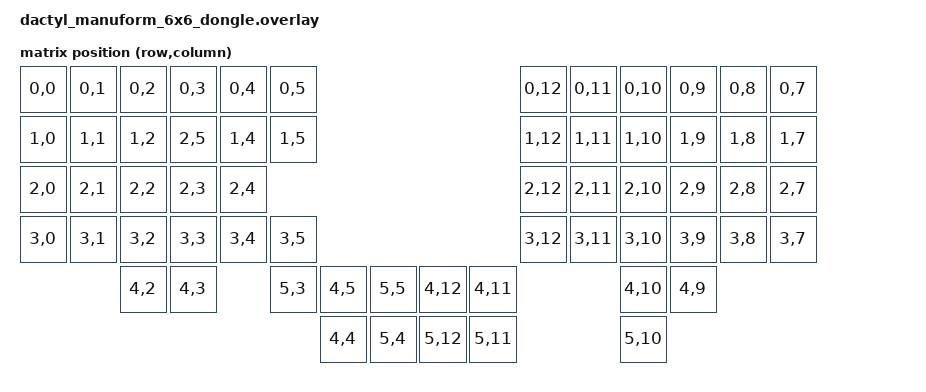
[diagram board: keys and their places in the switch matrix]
#include <dt-bindings/gpio/gpio.h>
#include <dt-bindings/pinctrl/nrf-pinctrl.h>
#include <dt-bindings/pwm/pwm.h>
#include <dt-bindings/zmk/matrix_transform.h>
#include <physical_layouts.dtsi>

/ {
    chosen {
        zmk,kscan = &mock_kscan;
        zmk,physical-layout = &default_layout;
        zephyr,display = &st7789;
    };

    pwmleds {
        compatible = "pwm-leds";

        disp_bl: pwm_led_1 {
            pwms = <&pwm1 0 PWM_MSEC(1) PWM_POLARITY_NORMAL>;
        };
    };

    mock_kscan: mock_kscan_0 {
        compatible = "zmk,kscan-mock";
        columns = <0>;
        rows = <0>;
        events = <0>;
    };

    default_transform: keymap_transform0 {
        compatible = "zmk,matrix-transform";
        columns = <14>;
        rows = <6>;
        map = <
            RC(0,0) RC(0,1) RC(0,2) RC(0,3) RC(0,4) RC(0,5)
            RC(1,0) RC(1,1) RC(1,2) RC(1,3) RC(1,4) RC(1,5)
            RC(2,0) RC(2,1) RC(2,2) RC(2,3) RC(2,4) RC(2,5)
            RC(3,0) RC(3,1) RC(3,2) RC(3,3) RC(3,4) RC(3,5)
            RC(4,2) RC(4,3) RC(5,3) RC(4,5) RC(5,5)
            RC(4,4) RC(5,4)

            RC(0,12) RC(0,11) RC(0,10) RC(0,9) RC(0,8) RC(0,7)
            RC(1,12) RC(1,11) RC(1,10) RC(1,9) RC(1,8) RC(1,7)
            RC(2,12) RC(2,11) RC(2,10) RC(2,9) RC(2,8) RC(2,7)
            RC(3,12) RC(3,11) RC(3,10) RC(3,9) RC(3,8) RC(3,7)
            RC(4,10) RC(4,9) RC(5,12) RC(4,12) RC(5,10)
            RC(5,11) RC(4,11)
        >;
    };

    default_layout: physical_layout_0 {
        compatible = "zmk,physical-layout";
        display-name = "Default";
        kscan = <&mock_kscan>;
        transform = <&default_transform>;
        keys
            = <&key_physical_attrs 100 100    0   0  0   0   0>
            , <&key_physical_attrs 100 100  100   0  0   0   0>
            , <&key_physical_attrs 100 100  200   0  0   0   0>
            , <&key_physical_attrs 100 100  300   0  0   0   0>
            , <&key_physical_attrs 100 100  400   0  0   0   0>
            , <&key_physical_attrs 100 100  500   0  0   0   0>
            , <&key_physical_attrs 100 100    0 100  0   0   0>
            , <&key_physical_attrs 100 100  100 100  0   0   0>
            , <&key_physical_attrs 100 100  200 100  0   0   0>
            , <&key_physical_attrs 100 100  300 100  0   0   0>
            , <&key_physical_attrs 100 100  400 100  0   0   0>
            , <&key_physical_attrs 100 100  500 100  0   0   0>
            , <&key_physical_attrs 100 100    0 200  0   0   0>
            , <&key_physical_attrs 100 100  100 200  0   0   0>
            , <&key_physical_attrs 100 100  200 200  0   0   0>
            , <&key_physical_attrs 100 100  300 200  0   0   0>
            , <&key_physical_attrs 100 100  400 200  0   0   0>
            , <&key_physical_attrs 100 100  300 100  0   0   0>
            , <&key_physical_attrs 100 100    0 300  0   0   0>
            , <&key_physical_attrs 100 100  100 300  0   0   0>
            , <&key_physical_attrs 100 100  200 300  0   0   0>
            , <&key_physical_attrs 100 100  300 300  0   0   0>
            , <&key_physical_attrs 100 100  400 300  0   0   0>
            , <&key_physical_attrs 100 100  500 300  0   0   0>
            , <&key_physical_attrs 100 100  200 400  0   0   0>
            , <&key_physical_attrs 100 100  300 400  0   0   0>
            , <&key_physical_attrs 100 100  500 400  0   0   0>
            , <&key_physical_attrs 100 100  600 400  0   0   0>
            , <&key_physical_attrs 100 100  700 400  0   0   0>
            , <&key_physical_attrs 100 100  600 500  0   0   0>
            , <&key_physical_attrs 100 100  700 500  0   0   0>

            , <&key_physical_attrs 100 100 1000   0  0   0   0>
            , <&key_physical_attrs 100 100 1100   0  0   0   0>
            , <&key_physical_attrs 100 100 1200   0  0   0   0>
            , <&key_physical_attrs 100 100 1300   0  0   0   0>
            , <&key_physical_attrs 100 100 1400   0  0   0   0>
            , <&key_physical_attrs 100 100 1500   0  0   0   0>
            , <&key_physical_attrs 100 100 1000 100  0   0   0>
            , <&key_physical_attrs 100 100 1100 100  0   0   0>
            , <&key_physical_attrs 100 100 1200 100  0   0   0>
            , <&key_physical_attrs 100 100 1300 100  0   0   0>
            , <&key_physical_attrs 100 100 1400 100  0   0   0>
            , <&key_physical_attrs 100 100 1500 100  0   0   0>
            , <&key_physical_attrs 100 100 1000 200  0   0   0>
            , <&key_physical_attrs 100 100 1100 200  0   0   0>
            , <&key_physical_attrs 100 100 1200 200  0   0   0>
            , <&key_physical_attrs 100 100 1300 200  0   0   0>
            , <&key_physical_attrs 100 100 1400 200  0   0   0>
            , <&key_physical_attrs 100 100 1500 200  0   0   0>
            , <&key_physical_attrs 100 100 1000 300  0   0   0>
            , <&key_physical_attrs 100 100 1100 300  0   0   0>
            , <&key_physical_attrs 100 100 1200 300  0   0   0>
            , <&key_physical_attrs 100 100 1300 300  0   0   0>
            , <&key_physical_attrs 100 100 1400 300  0   0   0>
            , <&key_physical_attrs 100 100 1500 300  0   0   0>
            , <&key_physical_attrs 100 100 1200 400  0   0   0>
            , <&key_physical_attrs 100 100 1300 400  0   0   0>
            , <&key_physical_attrs 100 100  800 500  0   0   0>
            , <&key_physical_attrs 100 100  800 400  0   0   0>
            , <&key_physical_attrs 100 100 1200 500  0   0   0>
            , <&key_physical_attrs 100 100  900 500  0   0   0>
            , <&key_physical_attrs 100 100  900 400  0   0   0>
            ;
    };
};

&spi2 {
    status = "disabled";
};

&pinctrl {
    spi3_default: spi3_default {
        group1 {
            psels = <NRF_PSEL(SPIM_SCK, 1, 13)>,
                    <NRF_PSEL(SPIM_MOSI, 1, 15)>,
                    <NRF_PSEL(SPIM_MISO, 1, 10)>;
        };
    };

    spi3_sleep: spi3_sleep {
        group1 {
            psels = <NRF_PSEL(SPIM_SCK, 1, 13)>,
                    <NRF_PSEL(SPIM_MOSI, 1, 15)>,
                    <NRF_PSEL(SPIM_MISO, 1, 10)>;
            low-power-enable;
        };
    };

    pwm1_default: pwm1_default {
        group1 {
            psels = <NRF_PSEL(PWM_OUT0, 1, 11)>;
            nordic,invert;
        };
    };

    pwm1_sleep: pwm1_sleep {
        group1 {
            psels = <NRF_PSEL(PWM_OUT0, 1, 11)>;
            low-power-enable;
        };
    };
};

disp_spi: &spi3 {
    status = "okay";
    pinctrl-0 = <&spi3_default>;
    pinctrl-1 = <&spi3_sleep>;
    pinctrl-names = "default", "sleep";
    cs-gpios = <&xiao_d 9 GPIO_ACTIVE_LOW>;

    st7789: st7789v@0 {
        compatible = "sitronix,st7789v";
        spi-max-frequency = <31000000>;
        reg = <0>;
        cmd-data-gpios = <&xiao_d 7 GPIO_ACTIVE_LOW>;
        reset-gpios = <&xiao_d 3 GPIO_ACTIVE_LOW>;
        width = <240>;
        height = <280>;
        x-offset = <0>;
        y-offset = <20>;
        vcom = <0x19>;
        gctrl = <0x35>;
        vrhs = <0x12>;
        vdvs = <0x20>;
        mdac = <0x00>;
        gamma = <0x01>;
        colmod = <0x05>;
        lcm = <0x2c>;
        porch-param = [ 0c 0c 00 33 33 ];
        cmd2en-param = [ 5a 69 02 01 ];
        pwctrl1-param = [ a4 a1 ];
        pvgam-param = [ d0 04 0d 11 13 2b 3f 54 4c 18 0d 0b 1f 23 ];
        nvgam-param = [ d0 04 0c 11 13 2c 3f 44 51 2f 1f 1f 20 23 ];
        ram-param = [ 00 f0 ];
        rgb-param = [ cd 08 14 ];
    };
};

&pwm1 {
    status = "okay";
    pinctrl-0 = <&pwm1_default>;
    pinctrl-1 = <&pwm1_sleep>;
    pinctrl-names = "default", "sleep";
};
